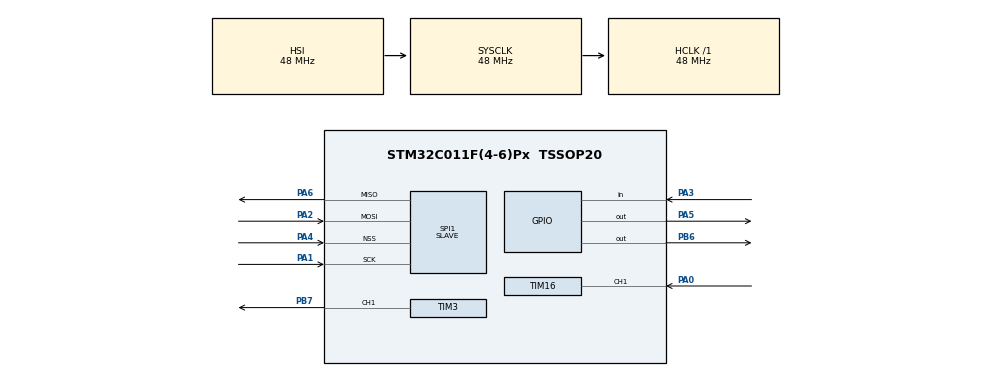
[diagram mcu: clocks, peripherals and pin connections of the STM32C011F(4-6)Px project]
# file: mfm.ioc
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Dma.Request0=SPI1_RX
Dma.Request1=SPI1_TX
Dma.Request2=TIM3_UP
Dma.SPI1_RX.0.Direction=DMA_PERIPH_TO_MEMORY
Dma.SPI1_RX.0.EventEnable=DISABLE
Dma.SPI1_RX.0.Instance=DMA1_Channel1
Dma.SPI1_RX.0.MemDataAlignment=DMA_MDATAALIGN_BYTE
Dma.SPI1_RX.0.MemInc=DMA_MINC_ENABLE
Dma.SPI1_RX.0.Mode=DMA_CIRCULAR
Dma.SPI1_RX.0.PeriphDataAlignment=DMA_PDATAALIGN_BYTE
Dma.SPI1_RX.0.PeriphInc=DMA_PINC_DISABLE
Dma.SPI1_RX.0.Polarity=HAL_DMAMUX_REQ_GEN_RISING
Dma.SPI1_RX.0.Priority=DMA_PRIORITY_VERY_HIGH
Dma.SPI1_RX.0.RequestNumber=1
Dma.SPI1_RX.0.SignalID=NONE
Dma.SPI1_RX.0.SyncEnable=DISABLE
Dma.SPI1_RX.0.SyncPolarity=HAL_DMAMUX_SYNC_NO_EVENT
Dma.SPI1_RX.0.SyncRequestNumber=1
Dma.SPI1_RX.0.SyncSignalID=NONE
Dma.SPI1_TX.1.Direction=DMA_MEMORY_TO_PERIPH
Dma.SPI1_TX.1.EventEnable=DISABLE
Dma.SPI1_TX.1.Instance=DMA1_Channel2
Dma.SPI1_TX.1.MemDataAlignment=DMA_MDATAALIGN_BYTE
Dma.SPI1_TX.1.MemInc=DMA_MINC_ENABLE
Dma.SPI1_TX.1.Mode=DMA_CIRCULAR
Dma.SPI1_TX.1.PeriphDataAlignment=DMA_PDATAALIGN_BYTE
Dma.SPI1_TX.1.PeriphInc=DMA_PINC_DISABLE
Dma.SPI1_TX.1.Polarity=HAL_DMAMUX_REQ_GEN_RISING
Dma.SPI1_TX.1.Priority=DMA_PRIORITY_HIGH
Dma.SPI1_TX.1.RequestNumber=1
Dma.SPI1_TX.1.SignalID=NONE
Dma.SPI1_TX.1.SyncEnable=DISABLE
Dma.SPI1_TX.1.SyncPolarity=HAL_DMAMUX_SYNC_NO_EVENT
Dma.SPI1_TX.1.SyncRequestNumber=1
Dma.SPI1_TX.1.SyncSignalID=NONE
Dma.TIM3_UP.2.Direction=DMA_MEMORY_TO_PERIPH
Dma.TIM3_UP.2.EventEnable=DISABLE
Dma.TIM3_UP.2.Instance=DMA1_Channel3
Dma.TIM3_UP.2.MemDataAlignment=DMA_MDATAALIGN_HALFWORD
Dma.TIM3_UP.2.MemInc=DMA_MINC_ENABLE
Dma.TIM3_UP.2.Mode=DMA_CIRCULAR
Dma.TIM3_UP.2.PeriphDataAlignment=DMA_PDATAALIGN_HALFWORD
Dma.TIM3_UP.2.PeriphInc=DMA_PINC_DISABLE
Dma.TIM3_UP.2.Polarity=HAL_DMAMUX_REQ_GEN_RISING
Dma.TIM3_UP.2.Priority=DMA_PRIORITY_MEDIUM
Dma.TIM3_UP.2.RequestNumber=1
Dma.TIM3_UP.2.SignalID=NONE
Dma.TIM3_UP.2.SyncEnable=DISABLE
Dma.TIM3_UP.2.SyncPolarity=HAL_DMAMUX_SYNC_NO_EVENT
Dma.TIM3_UP.2.SyncRequestNumber=1
Dma.TIM3_UP.2.SyncSignalID=NONE
Mcu.Family=STM32C0
Mcu.Name=STM32C011F(4-6)Px
Mcu.Package=TSSOP20
NVIC.DMA1_Channel1_IRQn=true\:0\:0\:false\:false\:true\:false\:true\:true
NVIC.DMA1_Channel2_3_IRQn=true\:0\:0\:false\:false\:true\:false\:true\:true
NVIC.TIM1_BRK_UP_TRG_COM_IRQn=true\:3\:0\:false\:false\:true\:false\:true\:true
NVIC.TimeBase=TIM1_BRK_UP_TRG_COM_IRQn
NVIC.TimeBaseIP=TIM1
PA0.Signal=S_TIM16_CH1
PA1.Mode=Full_Duplex_Slave
PA1.Signal=SPI1_SCK
PA13.Mode=Serial_Wire
PA13.Signal=DEBUG_SWDIO
PA14-BOOT0.Mode=Serial_Wire
PA14-BOOT0.Signal=DEBUG_SWCLK
PA2.Mode=Full_Duplex_Slave
PA2.Signal=SPI1_MOSI
PA3.Signal=GPIO_Input
PA4.Mode=NSS_Signal_Hard_Input
PA4.Signal=SPI1_NSS
PA5.Signal=GPIO_Output
PA6.Mode=Full_Duplex_Slave
PA6.Signal=SPI1_MISO
PB6.Signal=GPIO_Output
PB7.Signal=S_TIM3_CH1
ProjectManager.HeapSize=0x200
ProjectManager.StackSize=0x400
ProjectManager.TargetToolchain=STM32CubeIDE
RCC.ADCFreq_Value=48000000
RCC.AHBFreq_Value=48000000
RCC.CortexFreq_Value=48000000
RCC.EXTERNAL_CLOCK_VALUE=12288000
RCC.HCLKFreq_Value=48000000
RCC.HSE_VALUE=8000000
RCC.HSISYSCLKDivider=RCC_HSI_DIV1
RCC.HSI_VALUE=48000000
RCC.LSE_VALUE=32768
RCC.SYSCLKFreq_VALUE=48000000
SH.S_TIM16_CH1.0=TIM16_CH1,Input_Capture1_from_TI1
SH.S_TIM3_CH1.0=TIM3_CH1,PWM Generation1 CH1
SPI1.Direction=SPI_DIRECTION_2LINES
SPI1.Mode=SPI_MODE_SLAVE
SPI1.VirtualNSS=VM_NSSHARD
SPI1.VirtualType=VM_SLAVE
TIM16.Channel=TIM_CHANNEL_1
TIM16.ICPolarity_CH1=TIM_INPUTCHANNELPOLARITY_FALLING
TIM16.Prescaler=5
TIM3.Channel-PWM\ Generation1\ CH1=TIM_CHANNEL_1
TIM3.OC1Preload_PWM=DISABLE
TIM3.OCPolarity_1=TIM_OCPOLARITY_LOW
TIM3.Period=8
TIM3.Prescaler=23
TIM3.Pulse-PWM\ Generation1\ CH1=1
VP_SYS_VS_tim1.Mode=TIM1
VP_TIM16_VS_ClockSourceINT.Mode=Enable_Timer
VP_TIM3_VS_ClockSourceINT.Mode=Internal
board=custom

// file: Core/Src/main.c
/* USER CODE BEGIN Header */
/**
  ******************************************************************************
  * @file           : main.c
  * @brief          : Main program body
  ******************************************************************************
  * @attention
  *
  * Copyright (c) 2025 STMicroelectronics.
  * All rights reserved.
  *
  * This software is licensed under terms that can be found in the LICENSE file
  * in the root directory of this software component.
  * If no LICENSE file comes with this software, it is provided AS-IS.
  *
  ******************************************************************************
  */
/* USER CODE END Header */
#include "main.h"

/* USER CODE BEGIN Includes */

#include "circularbuffer.h"
#include "initializers.h"
#include "dma_handlers.h"

/* USER CODE END Includes */

SPI_HandleTypeDef hspi1;
DMA_HandleTypeDef hdma_spi1_rx;
DMA_HandleTypeDef hdma_spi1_tx;

TIM_HandleTypeDef htim3;
TIM_HandleTypeDef htim16;
DMA_HandleTypeDef hdma_tim3_up;

void SystemClock_Config(void);
static void MX_GPIO_Init(void);
static void MX_DMA_Init(void);
static void MX_TIM3_Init(void);
static void MX_SPI1_Init(void);
static void MX_TIM16_Init(void);

/* USER CODE BEGIN 0 */

volatile uint16_t iStart, iEnd;

volatile uint8_t writingNow;

uint32_t txCnt, txCount1, txCount2;
uint8_t txData1[WRITEBUFFER_SIZE], txData2[WRITEBUFFER_SIZE];

// on write START - see which part of buffer is empty - lower part or upper part?
// Initialize pointer and count to the free empty part of tx buffer.
void onWriteStart(void)
{
    // restart write handling variables
    wrStreamByte = 0;
    wrBits = 0;

    // decide where the next data will be stored
    if(txDataState1 == STATE_EMPTY) {              // lower part empty?
        txDataState1 = STATE_STORING;
        pWrite = &txData1[2];
        txCnt = 2;
    } else if(txDataState2 == STATE_EMPTY) {      // upper part empty?
        txDataState2 = STATE_STORING;
        pWrite = &txData2[2];
        txCnt = 2;
    }
}

__attribute__((always_inline)) void sendBufferIfWaiting(void)
{
    // something is being sent now? nothing to do
    if(txDataState1 == STATE_SENDING || txDataState2 == STATE_SENDING) {
        return;
    }

    // should send txData1?
    if(txDataState1 == STATE_WAIT_FOR_SEND) {
        txDataState1 = STATE_SENDING;
        spiDmaTxBuffer((uint32_t) &txData1[0], txCount1);  // send this buffer
        return;
    }

    // should send txData2?
    if(txDataState2 == STATE_WAIT_FOR_SEND) {
        txDataState2 = STATE_SENDING;
        spiDmaTxBuffer((uint32_t) &txData2[0], txCount2);  // send this buffer
        return;
    }
}

uint8_t prevWhichPart = CIRC_HANDLE_NOTHING;

// on write END - mark start and end of this buffer with known tags, this
// marks the buffer used and esp will know that the valid data is between these tags.
void onWriteEnd(void)
{
    uint8_t otherPart = (prevWhichPart == CIRC_HANDLE_LOW) ? CIRC_HANDLE_HIGH : CIRC_HANDLE_LOW;
    processWriteTimerDma(otherPart);        // final processing of the OTHER part

    uint32_t bytesEmpty = WRITEBUFFER_SIZE - txCnt;   // how much more can we add to the buffer?
    uint32_t bytesRemove = (bytesEmpty >= 2) ? 0 : (2 - bytesEmpty);    // if have at least 2 bytes empty, don't remove anything; but for 1 or 0 empty bytes remove 1 or 2 bytes
    pWrite -= bytesRemove;
    txCnt -= bytesRemove;

    *pWrite = TAG_WRITE_END;    // store END tag after the last valid data byte
    pWrite++;

    *pWrite = 0;    // one more zero after end tag, just to be safe
    pWrite++;

    txCnt += 2;

    // too little data? probably glitch, ignore buffer and mark it as empty; otherwise send it
//    uint8_t nextState = (txCnt < 400) ? STATE_EMPTY : STATE_WAIT_FOR_SEND;
    uint8_t nextState = (txCnt < 400) ? STATE_EMPTY : STATE_SENDING;

    // write was storing data to buffer 1?
    if(txDataState1 == STATE_STORING) {
        txDataState1 = nextState;
        txCount1 = txCnt;
        spiDmaTxBuffer((uint32_t) &txData1[0], txCount1);  // send this buffer
        return;
    }

    // write was storing data to buffer 2?
    if(txDataState2 == STATE_STORING) {
        txDataState2 = nextState;
        txCount2 = txCnt;
        spiDmaTxBuffer((uint32_t) &txData2[0], txCount2);  // send this buffer
        return;
    }
}

/* USER CODE END 0 */

int main(void)
{

  /* MCU Configuration--------------------------------------------------------*/

  /* Reset of all peripherals, Initializes the Flash interface and the Systick. */
  HAL_Init();

  /* Configure the system clock */
  SystemClock_Config();

  /* Initialize all configured peripherals */
  MX_GPIO_Init();
  MX_DMA_Init();
  MX_TIM3_Init();
  MX_SPI1_Init();
  MX_TIM16_Init();
  /* USER CODE BEGIN 2 */

  setupSpiUsingCircularDma();
  setupTMI3circularDma();

  spiDmaTxZeros();

  RX_CLEAR();

  HAL_TIM_PWM_Start(&htim3, TIM_CHANNEL_1);
  HAL_TIM_PWM_Start(&htim16, TIM_CHANNEL_1);

  txDataState1 = STATE_EMPTY;
  txData1[0] = 0;
  txData1[1] = TAG_WRITE_START;

  txDataState2 = STATE_EMPTY;
  txData2[0] = 0;
  txData2[1] = TAG_WRITE_START;

  pWrite = &txData1[2];
  txCnt = 2;

  UPDATE_PIN_RXE;       // set RXE pin because we're empty

  uint8_t writingPrev = (GPIOA->IDR & PIN_WGATE) == 0;      // track WGATE changes with this var, init to current WGATE state

  if(writingPrev) {
      dmaReconfigForWrite();
  } else {
      dmaReconfigForRead();
  }

  /* USER CODE END 2 */

  /* Infinite loop */
  /* USER CODE BEGIN WHILE */

  while (1)
  {
    writingNow = (GPIOA->IDR & PIN_WGATE) == 0;     // true if now writing data (0.3 us)

    // when the WGATE signal changes, we need to
    // - on START of write - get pointer to empty buffer
    // - on END of write - just mark the buffer as ready to be sent and valid
    if(writingPrev != writingNow)   // when WGATE signal changed
    {
        writingPrev = writingNow;

        if(writingNow) {
            onWriteStart();
            dmaReconfigForWrite();
        } else {
            onWriteEnd();
            dmaReconfigForRead();
        }
    }

    // if writing, handle DMA channel 2_3 events here, because interrupt is disabled
    if(writingNow) {
        uint32_t flag_it = DMA1->ISR;

        if((flag_it & DMA_FLAG_TC2) != 0)
        {
            DMA1->IFCR = DMA_FLAG_TC2;

            if(txDataState1 == STATE_SENDING) {    // was sending low buffer? now it's empty
              txDataState1 = STATE_EMPTY;
            }

            if(txDataState2 == STATE_SENDING) {   // was sending high buffer? now it's empty
              txDataState2 = STATE_EMPTY;
            }
        }

        if((flag_it & DMA_FLAG_HT3) != 0)
        {
            DMA1->IFCR = DMA_FLAG_HT3;
            prevWhichPart = CIRC_HANDLE_LOW;
            processWriteTimerDma(prevWhichPart);
        }

        // Transfer Complete Interrupt management
        if((flag_it & DMA_FLAG_TC3) != 0)
        {
            DMA1->IFCR = DMA_FLAG_TC3;
            prevWhichPart = CIRC_HANDLE_HIGH;
            processWriteTimerDma(prevWhichPart);
        }
    }

    /* USER CODE END WHILE */

  }
}

void SystemClock_Config(void)
{
  RCC_OscInitTypeDef RCC_OscInitStruct = {0};
  RCC_ClkInitTypeDef RCC_ClkInitStruct = {0};

  /** Initializes the RCC Oscillators according to the specified parameters
  * in the RCC_OscInitTypeDef structure.
  */
  RCC_OscInitStruct.OscillatorType = RCC_OSCILLATORTYPE_HSI;
  RCC_OscInitStruct.HSIState = RCC_HSI_ON;
  RCC_OscInitStruct.HSIDiv = RCC_HSI_DIV1;
  RCC_OscInitStruct.HSICalibrationValue = RCC_HSICALIBRATION_DEFAULT;
  if (HAL_RCC_OscConfig(&RCC_OscInitStruct) != HAL_OK)
  {
    Error_Handler();
  }

  /** Initializes the CPU, AHB and APB buses clocks
  */
  RCC_ClkInitStruct.ClockType = RCC_CLOCKTYPE_HCLK|RCC_CLOCKTYPE_SYSCLK
                              |RCC_CLOCKTYPE_PCLK1;
  RCC_ClkInitStruct.SYSCLKSource = RCC_SYSCLKSOURCE_HSI;
  RCC_ClkInitStruct.SYSCLKDivider = RCC_SYSCLK_DIV1;
  RCC_ClkInitStruct.AHBCLKDivider = RCC_HCLK_DIV1;
  RCC_ClkInitStruct.APB1CLKDivider = RCC_APB1_DIV1;

  if (HAL_RCC_ClockConfig(&RCC_ClkInitStruct, FLASH_LATENCY_1) != HAL_OK)
  {
    Error_Handler();
  }
}

static void MX_SPI1_Init(void)
{

  /* SPI1 parameter configuration*/
  hspi1.Instance = SPI1;
  hspi1.Init.Mode = SPI_MODE_SLAVE;
  hspi1.Init.Direction = SPI_DIRECTION_2LINES;
  hspi1.Init.DataSize = SPI_DATASIZE_8BIT;
  hspi1.Init.CLKPolarity = SPI_POLARITY_LOW;
  hspi1.Init.CLKPhase = SPI_PHASE_1EDGE;
  hspi1.Init.NSS = SPI_NSS_HARD_INPUT;
  hspi1.Init.FirstBit = SPI_FIRSTBIT_MSB;
  hspi1.Init.TIMode = SPI_TIMODE_DISABLE;
  hspi1.Init.CRCCalculation = SPI_CRCCALCULATION_DISABLE;
  hspi1.Init.CRCPolynomial = 7;
  hspi1.Init.CRCLength = SPI_CRC_LENGTH_DATASIZE;
  hspi1.Init.NSSPMode = SPI_NSS_PULSE_DISABLE;
  if (HAL_SPI_Init(&hspi1) != HAL_OK)
  {
    Error_Handler();
  }

}

static void MX_TIM3_Init(void)
{

  TIM_ClockConfigTypeDef sClockSourceConfig = {0};
  TIM_MasterConfigTypeDef sMasterConfig = {0};
  TIM_OC_InitTypeDef sConfigOC = {0};

  htim3.Instance = TIM3;
  htim3.Init.Prescaler = 23;
  htim3.Init.CounterMode = TIM_COUNTERMODE_UP;
  htim3.Init.Period = 8;
  htim3.Init.ClockDivision = TIM_CLOCKDIVISION_DIV1;
  htim3.Init.AutoReloadPreload = TIM_AUTORELOAD_PRELOAD_DISABLE;
  if (HAL_TIM_Base_Init(&htim3) != HAL_OK)
  {
    Error_Handler();
  }
  sClockSourceConfig.ClockSource = TIM_CLOCKSOURCE_INTERNAL;
  if (HAL_TIM_ConfigClockSource(&htim3, &sClockSourceConfig) != HAL_OK)
  {
    Error_Handler();
  }
  if (HAL_TIM_PWM_Init(&htim3) != HAL_OK)
  {
    Error_Handler();
  }
  sMasterConfig.MasterOutputTrigger = TIM_TRGO_RESET;
  sMasterConfig.MasterSlaveMode = TIM_MASTERSLAVEMODE_DISABLE;
  if (HAL_TIMEx_MasterConfigSynchronization(&htim3, &sMasterConfig) != HAL_OK)
  {
    Error_Handler();
  }
  sConfigOC.OCMode = TIM_OCMODE_PWM1;
  sConfigOC.Pulse = 1;
  sConfigOC.OCPolarity = TIM_OCPOLARITY_LOW;
  sConfigOC.OCFastMode = TIM_OCFAST_DISABLE;
  if (HAL_TIM_PWM_ConfigChannel(&htim3, &sConfigOC, TIM_CHANNEL_1) != HAL_OK)
  {
    Error_Handler();
  }
  __HAL_TIM_DISABLE_OCxPRELOAD(&htim3, TIM_CHANNEL_1);
  HAL_TIM_MspPostInit(&htim3);

}

static void MX_TIM16_Init(void)
{

  TIM_IC_InitTypeDef sConfigIC = {0};

  htim16.Instance = TIM16;
  htim16.Init.Prescaler = 5;
  htim16.Init.CounterMode = TIM_COUNTERMODE_UP;
  htim16.Init.Period = 65535;
  htim16.Init.ClockDivision = TIM_CLOCKDIVISION_DIV1;
  htim16.Init.RepetitionCounter = 0;
  htim16.Init.AutoReloadPreload = TIM_AUTORELOAD_PRELOAD_DISABLE;
  if (HAL_TIM_Base_Init(&htim16) != HAL_OK)
  {
    Error_Handler();
  }
  if (HAL_TIM_IC_Init(&htim16) != HAL_OK)
  {
    Error_Handler();
  }
  sConfigIC.ICPolarity = TIM_INPUTCHANNELPOLARITY_FALLING;
  sConfigIC.ICSelection = TIM_ICSELECTION_DIRECTTI;
  sConfigIC.ICPrescaler = TIM_ICPSC_DIV1;
  sConfigIC.ICFilter = 0;
  if (HAL_TIM_IC_ConfigChannel(&htim16, &sConfigIC, TIM_CHANNEL_1) != HAL_OK)
  {
    Error_Handler();
  }

}

static void MX_DMA_Init(void)
{

  /* DMA controller clock enable */
  __HAL_RCC_DMA1_CLK_ENABLE();

  /* DMA interrupt init */
  /* DMA1_Channel1_IRQn interrupt configuration */
  HAL_NVIC_SetPriority(DMA1_Channel1_IRQn, 0, 0);
  HAL_NVIC_EnableIRQ(DMA1_Channel1_IRQn);
  /* DMA1_Channel2_3_IRQn interrupt configuration */
  HAL_NVIC_SetPriority(DMA1_Channel2_3_IRQn, 0, 0);
  HAL_NVIC_EnableIRQ(DMA1_Channel2_3_IRQn);

}

static void MX_GPIO_Init(void)
{
  GPIO_InitTypeDef GPIO_InitStruct = {0};

  /* GPIO Ports Clock Enable */
  __HAL_RCC_GPIOB_CLK_ENABLE();
  __HAL_RCC_GPIOA_CLK_ENABLE();

  /*Configure GPIO pin Output Level */
  HAL_GPIO_WritePin(GPIOA, GPIO_PIN_5, GPIO_PIN_RESET);

  /*Configure GPIO pin Output Level */
  HAL_GPIO_WritePin(GPIOB, GPIO_PIN_6, GPIO_PIN_RESET);

  /*Configure GPIO pin : PA3 */
  GPIO_InitStruct.Pin = GPIO_PIN_3;
  GPIO_InitStruct.Mode = GPIO_MODE_INPUT;
  GPIO_InitStruct.Pull = GPIO_NOPULL;
  HAL_GPIO_Init(GPIOA, &GPIO_InitStruct);

  /*Configure GPIO pin : PA5 */
  GPIO_InitStruct.Pin = GPIO_PIN_5;
  GPIO_InitStruct.Mode = GPIO_MODE_OUTPUT_PP;
  GPIO_InitStruct.Pull = GPIO_NOPULL;
  GPIO_InitStruct.Speed = GPIO_SPEED_FREQ_LOW;
  HAL_GPIO_Init(GPIOA, &GPIO_InitStruct);

  /*Configure GPIO pin : PB6 */
  GPIO_InitStruct.Pin = GPIO_PIN_6;
  GPIO_InitStruct.Mode = GPIO_MODE_OUTPUT_PP;
  GPIO_InitStruct.Pull = GPIO_NOPULL;
  GPIO_InitStruct.Speed = GPIO_SPEED_FREQ_LOW;
  HAL_GPIO_Init(GPIOB, &GPIO_InitStruct);

}

void HAL_TIM_PeriodElapsedCallback(TIM_HandleTypeDef *htim)
{
  if (htim->Instance == TIM1) {
    HAL_IncTick();
  }
}

void Error_Handler(void)
{
  __disable_irq();
  while (1)
  {
  }
}
